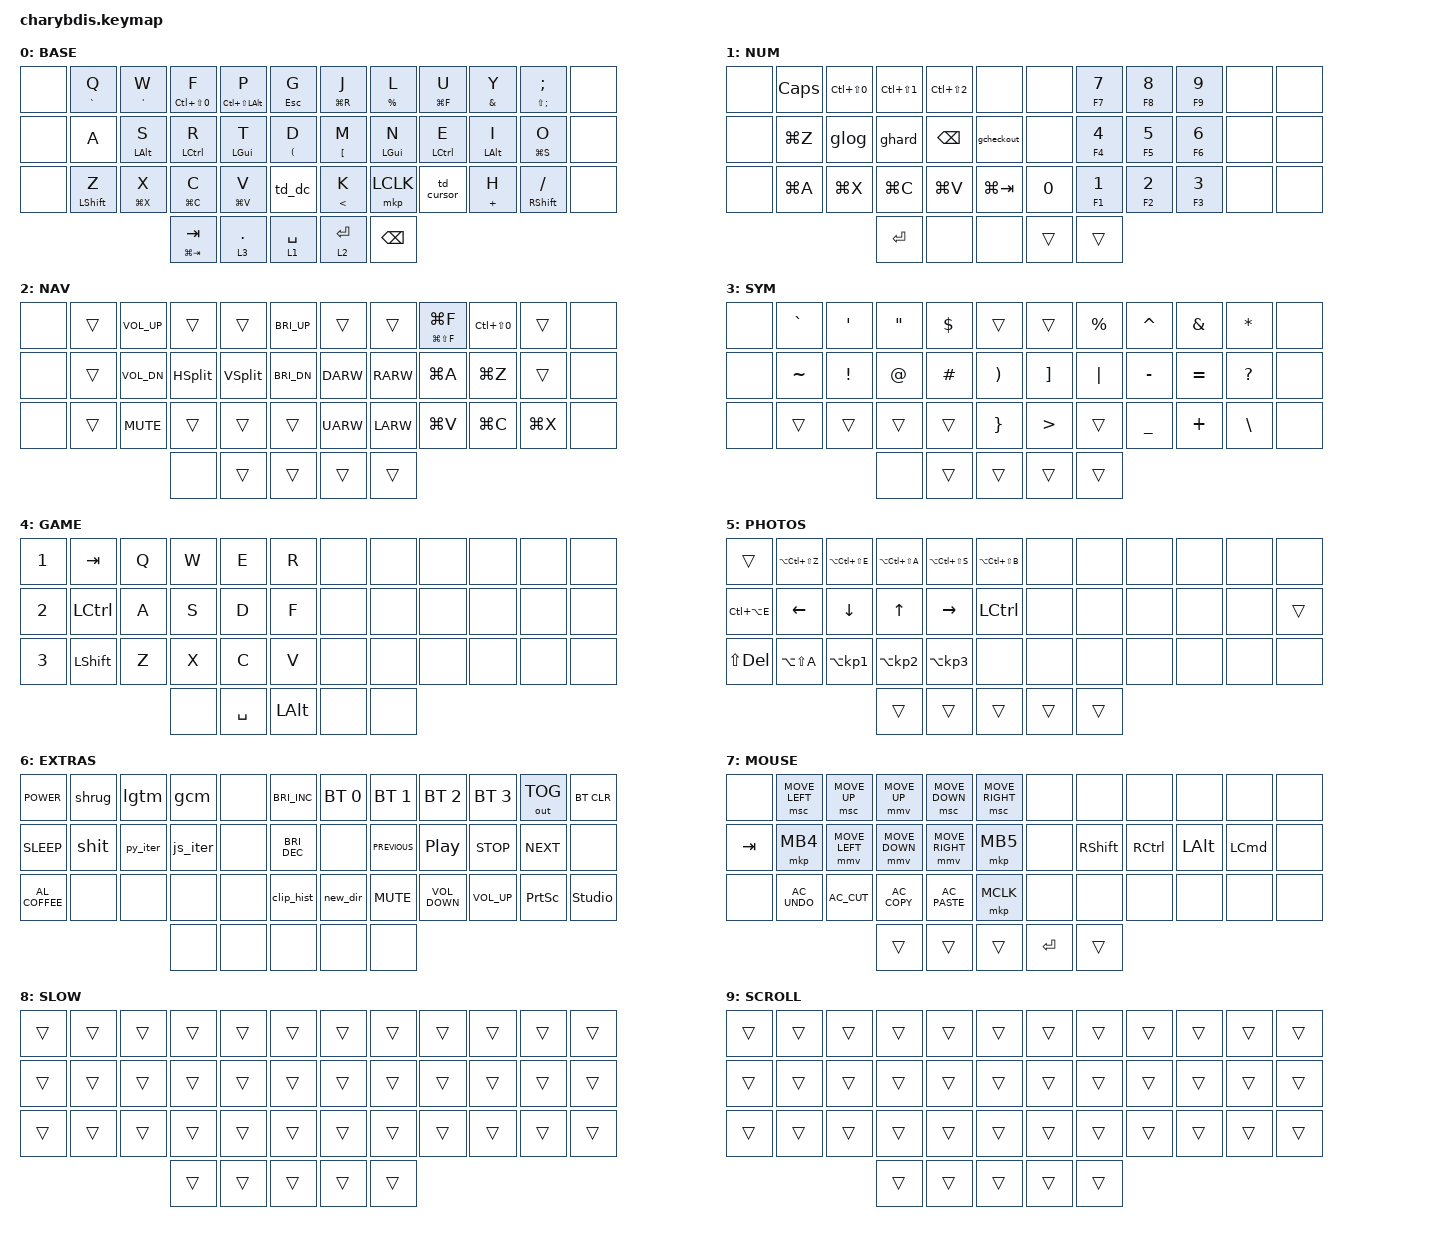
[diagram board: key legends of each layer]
#include <behaviors.dtsi>
#include <dt-bindings/zmk/bt.h>
#include <dt-bindings/zmk/keys.h>
#include <dt-bindings/zmk/mouse.h>
#include <dt-bindings/zmk/outputs.h>
#include <behaviors/mouse_keys.dtsi>
#include <dt-bindings/zmk/ext_power.h>
#include "macros.dtsi"

// / {
//     chosen { zmk,matrix_transform = &default_transform; };
// };

/ {
    /* input config for mouse move mode */
    trackball_listener {
        compatible = "zmk,input-behavior-listener";
        device = <&vtrackball>;
        layers = <0 2 7>;
        evt-type = <INPUT_EV_REL>;
        x-input-code = <INPUT_REL_X>;
        y-input-code = <INPUT_REL_Y>;
        scale-multiplier = <1>;
        scale-divisor = <2>;
        // bindings = <&ib_toggle_layer 7>;
    };

    /* input config for snipe mode */
    trackball_snipe_listener {
        compatible = "zmk,input-behavior-listener";   
        device = <&vtrackball>;
        layers = <8>;
        evt-type = <INPUT_EV_REL>;
        x-input-code = <INPUT_REL_X>;
        y-input-code = <INPUT_REL_Y>;
        scale-multiplier = <1>;
        scale-divisor = <4>;
    };

    /* input config for mouse scroll mode */
    trackball_scroll_listener {
        compatible = "zmk,input-behavior-listener";
        device = <&vtrackball>;
        layers = <9>;
        evt-type = <INPUT_EV_REL>;            
        x-input-code = <INPUT_REL_MISC>;
        y-input-code = <INPUT_REL_WHEEL>;
        y-invert;
        bindings = <&ib_wheel_scaler 1 14>;
    };

    /* define a resolution down scaler only for INPUT_REL_WHEEL */
    ib_wheel_scaler: ib_wheel_scaler {
        compatible = "zmk,input-behavior-scaler";
        #binding-cells = <2>;
        evt-type = <INPUT_EV_REL>;
        input-code = <INPUT_REL_WHEEL>;
    };

    /* adjust cooldown waiting period for mouse key layer after activated */
    ib_toggle_layer: ib_toggle_layer {
        compatible = "zmk,input-behavior-tog-layer";
        #binding-cells = <1>;
        time-to-live-ms = <750>;
    };

    behaviors {
        hm: homerow_mod {
            compatible = "zmk,behavior-hold-tap";
            #binding-cells = <2>;
            flavor = "tap-preferred";
            tapping-term-ms = <175>; // triggers the hold behavior when the tapping-term-ms has expired
            quick-tap-ms = <160>; // If you press a tapped hold-tap again within quick-tap-ms milliseconds of the first press, it will always trigger the tap behavior.
            require-prior-idle-ms = <185>; // like quick-tap-ms however it will apply for any non-modifier key pressed before it
            bindings = <&kp>, <&kp>;  // hold, tap
        };

        hmsh: homerow_mod_short {
            compatible = "zmk,behavior-hold-tap";
            #binding-cells = <2>;
            flavor = "tap-preferred";
            tapping-term-ms = <155>; // triggers the hold behavior when the tapping-term-ms has expired
            quick-tap-ms = <130>; // If you press a tapped hold-tap again within quick-tap-ms milliseconds of the first press, it will always trigger the tap behavior.
            require-prior-idle-ms = <145>; // like quick-tap-ms however it will apply for any non-modifier key pressed before it
            bindings = <&kp>, <&kp>;  // hold, tap
        };

        td_cursor: td_scroll_or_cursor {
            compatible = "zmk,behavior-tap-dance";
            #binding-cells = <0>;
            bindings = <&lt 9 ESC>, <&mkp RCLK>; // hold, tap, double_tap
        };
        
        hm_s: homerow_mod_special {
            compatible = "zmk,behavior-hold-tap";
            #binding-cells = <2>;
            flavor = "balanced";
            tapping-term-ms = <210>; // triggers the hold behavior when the tapping-term-ms has expired
            quick-tap-ms = <180>; // If you press a tapped hold-tap again within quick-tap-ms milliseconds of the first press, it will always trigger the tap behavior.
            require-prior-idle-ms = <220>; // like quick-tap-ms however it will apply for any non-modifier key pressed before it
            bindings = <&kp>, <&kp>;
            hold-trigger-key-positions = <0 1 2 3 4 5 6 7 8 9 11 12 13 14 15 16 17 18 19 20 21 22 23 24 25 26 27 28 29 30 31 32 33 34>;
        };

        hm_right: homerow_mod_right {
            compatible = "zmk,behavior-hold-tap";
            #binding-cells = <2>;
            flavor = "balanced";
            tapping-term-ms = <195>; // triggers the hold behavior when the tapping-term-ms has expired
            quick-tap-ms = <170>; // If you press a tapped hold-tap again within quick-tap-ms milliseconds of the first press, it will always trigger the tap behavior.
            require-prior-idle-ms = <200>; // like quick-tap-ms however it will apply for any non-modifier key pressed before it
            bindings = <&kp>, <&kp>;
            hold-trigger-key-positions = <0 1 2 3 4 10 11 12 13 14 20 21 22 23 24 30 31 32>;
        };

        td_layers: td_layer_swap {
            compatible = "zmk,behavior-tap-dance";
            #binding-cells = <0>;
            bindings = <&to 0>, <&to 5>, <&to 4>; // tap, double_tap, tripple_tap
        };
    
        td_clk_scrl: td_click_or_scroll {
            compatible = "zmk,behavior-tap-dance";
            #binding-cells = <0>;
            tapping-term-ms = <195>;
            bindings = <&mkp RCLK>, <&mo 9>;  // tap/hold, double_tap
        };

        td_rbck: td_right_bracket {
            compatible = "zmk,behavior-tap-dance";
            #binding-cells = <0>;
            tapping-term-ms = <195>;
            bindings = <&kp M>, <&kp RIGHT_BRACKET>;
        };
        
        td_rp: td_right_paren {
            compatible = "zmk,behavior-tap-dance";
            #binding-cells = <0>;
            tapping-term-ms = <195>;
            bindings = <&kp D>, <&kp RIGHT_PARENTHESIS>;
        };
      
        td_rbc: td_right_brace {
            compatible = "zmk,behavior-tap-dance";
            #binding-cells = <0>;
            tapping-term-ms = <195>;
            bindings = <&kp B>, <&kp RIGHT_BRACE>;
        };
              
        td_rgt: td_right_greater_than {
            compatible = "zmk,behavior-tap-dance";
            #binding-cells = <0>;
            tapping-term-ms = <195>;
            bindings = <&kp K>, <&kp GREATER_THAN>;
        };

        td_dc: td_v_cot_comma {
            compatible = "zmk,behavior-tap-dance";
            #binding-cells = <0>;
            tapping-term-ms = <175>;
            bindings = <&hm LBRC B>, <&kp COMMA>;
        };

        td_2c: td_2_coma {
            compatible = "zmk,behavior-tap-dance";
            #binding-cells = <0>;
            tapping-term-ms = <195>;
            bindings = <&hm F2 N2>, <&kp COMMA>;
        };
        
        td_3d: td_3_dot {
            compatible = "zmk,behavior-tap-dance";
            #binding-cells = <0>;
            tapping-term-ms = <195>;
            bindings = <&hm F3 N3>, <&kp DOT>;
        };

        td_bore: BASE_or_EXTRA {
            compatible = "zmk,behavior-tap-dance";
            #binding-cells = <0>;
            bindings = <&mo 6>, <&to 0>;
        };

    };

    combos {
        compatible = "zmk,combos";


        BASE_or_EXTRAS {
            bindings = <&td_bore>;
            key-positions = <4 5>;
        };
    };

// ╭──────┬──────┬──────┬──────┬──────┬──────╮  ╭──────┬──────┬──────┬──────┬──────┬──────╮
//    00     01     02     03    04      05        06     07     08     09     10     11
// ├──────┼──────┼──────┼──────┼──────┼──────┤  ├──────┼──────┼──────┼──────┼──────┼──────┤
//    12     13     14     15    16      17        18     19     20     21     22     23
// ├──────┼──────┼──────┼──────┼──────┼──────┤  ├──────┼──────┼──────┼──────┼──────┼──────┤
//    24     25     26     27    28      29        30     31     32     33     34     35
// ╰──────┴──────┴──────┼──────┼──────┼──────┤  ├──────┼──────┼──────┴──────┴──────┴──────╯
//                         36     37     38        39     40
//                      ╰──────┴──────┴──────╯  ╰──────┴──────╯
// ╭──────┬──────┬──────┬──────┬──────╮  ╭──────┬──────┬──────┬──────┬──────╮
//    00     01     02     03     04        05     06     07     08     09   
// ├──────┼──────┼──────┼──────┼──────┤  ├──────┼──────┼──────┼──────┼──────┤
//    10     11     12     13     14        15     16     17     18     19   
// ├──────┼──────┼──────┼──────┼──────┤  ├──────┼──────┼──────┼──────┼──────┤
//    20     21     22     23     24        25     26     27     28     29    
// ╰──────┴──────┼──────┼──────┼──────┤  ├──────┼──────┼──────┴──────┴──────╯
//                  30     31     32        33     34
//               ╰──────┴──────┴──────╯  ╰──────┴──────╯
// #define BASE    0
// #define NUM     1
// #define NAV     2
// #define SYM     3
// #define GAME    4
// #define PHOTOS  5
// #define EXTRAS  6
// #define MOUSE   7
// #define SLOW    8
// #define SCROLL  9


    keymap {
        compatible = "zmk,keymap";
        BASE {
            bindings = <
// ╭────────────────┬──────────────────┬─────────────────────────┬─────────────────────────────┬──────────────────┬──────────────────╮  ╭────────────────┬─────────────────┬──────────────────────────────────┬──────────────────────────────┬────────────────────────┬──────────────╮
      &none          &hm GRAVE Q            &hm APOS W                &hm LC(LS(N0)) F          &hm LC(LS(LALT)) P    &hm ESC G          &hm LG(R) J      &hm PRCNT L          &hm LG(F) U                     &hm AMPS Y                     &hm LS(SEMI)  SEMI              &none
// ├────────────────┼──────────────────┼─────────────────────────┼─────────────────────────────┼──────────────────┼──────────────────┤  ├────────────────┼─────────────────┼──────────────────────────────────┼──────────────────────────────┼────────────────────────┼──────────────┤
      &none            &kp A                  &hm LALT S                &hm LCTRL R                 &hm_s LGUI T        &hm LPAR D         &hm LBKT M       &hm_right LGUI N     &hm_right LCTRL E               &hm_right LALT I               &hm LG(S) O            &none
// ├────────────────┼──────────────────┼─────────────────────────┼─────────────────────────────┼──────────────────┼──────────────────┤  ├────────────────┼─────────────────┼──────────────────────────────────┼──────────────────────────────┼────────────────────────┼──────────────┤
      &none            &hmsh LSHFT Z          &hm LG(X) X               &hm  LG(C) C                &hm LG(V) V         &td_dc            &hm LT K         &mkp LCLK            &td_cursor                     &hm_right PLUS H               &hmsh RSHFT FSLH         &none
// ╰────────────────┴──────────────────┴─────────────────────────┼─────────────────────────────┼──────────────────┼──────────────────┤  ├────────────────┼─────────────────┼──────────────────────────────────┴──────────────────────────────┴────────────────────────┴──────────────╯
                                                                                 &mt LG(TAB) TAB      &lt 3 DOT        &lt 1 SPACE          &lt 2 RETURN     &kp BACKSPACE
                                                                              //  ╰─────────────┴──────────────────┴─────────────────╯  ╰────────────────┴─────────────────╯  
            >;
        };
        
        

        NUM {
            bindings = <
&none    &kp CAPS      &kp LC(LS(N0)) &kp LC(LS(N1)) &kp LC(LS(N2))  &none             &none      &hm F7 N7  &hm F8 N8  &hm F9 N9     &none  &none
&none    &kp LG(Z)     &glog          &ghard         &kp BACKSPACE   &gcheckout        &none      &hm F4 N4  &hm F5 N5  &hm F6 N6     &none   &none
&none    &kp LG(A)     &kp LG(X)      &kp LG(C)      &kp LG(V)       &kp LG(TAB)       &kp N0     &hm F1 N1  &hm F2 N2  &hm F3 N3     &none   &none
                                      &kp RETURN     &none           &none             &trans     &trans
          //                      ╰────────────────┴────────────────┴───────x─────╯   ╰─────────┴──────────╯
            >;
        };


        NAV {
            bindings = <
        //╭──────────┬──────────┬──────────┬──────────┬──────────╮   ╭──────────┬──────────┬───────────────────┬────────────────┬──────────╮
 &none       &trans  &kp C_VOL_UP   &trans    &trans   &kp C_BRI_UP    &trans     &trans   &hm LG(LS(F)) LG(F)   &kp LC(LS(N0))   &trans      &none 
        //├──────────┼──────────┼──────────┼──────────┼──────────┤   ├──────────┼──────────┼───────────────────┼────────────────┼──────────┤
 &none       &trans  &kp C_VOL_DN   &HSplit   &VSplit  &kp C_BRI_DN    &kp DARW   &kp RARW   &kp LG(A)           &kp LG(Z)        &trans      &none 
        //├──────────┼──────────┼──────────┼──────────┼──────────┤   ├──────────┼──────────┼───────────────────┼────────────────┼──────────┤
 &none       &trans  &kp C_MUTE    &trans     &trans    &trans         &kp UARW   &kp LARW   &kp LG(V)           &kp LG(C)        &kp LG(X)   &none 
        //╰──────────┴──────────┴──────────┼──────────┼──────────┤   ├──────────┼──────────┼───────────────────┴────────────────┴──────────╯
                                   &none     &trans     &trans         &trans     &trans
        //                      ╰──────────┴──────────┴──────────╯   ╰────x─────┴──────────╯
            >;
        };

        

        SYM {
            bindings = <
        //╭──────────┬──────────┬──────────┬──────────┬──────────────────╮   ╭──────────────────┬──────────┬──────────┬──────────┬──────────╮
        //│  `       │    '     │    "     │    $     │                  │   │                  │    %     │    ^     │    &     │    *     │
 &none     &kp GRAVE   &kp APOS  &kp DQT     &kp DLLR    &trans                     &trans       &kp PRCNT  &kp CARET   &kp AMPS  &kp ASTRK   &none 
        //├──────────┼──────────┼──────────┼──────────┼──────────────────┤   ├──────────────────┼──────────┼──────────┼──────────┼──────────┤
        //│   ~      │   !      │  @       │    #     │    (             │   │    [             │     │    │    -     │    =     │     ?    │
 &none     &kp TILDE   &kp EXCL   &kp AT     &kp HASH   &kp RPAR                &kp RBKT         &kp PIPE   &kp MINUS &kp EQUAL  &kp QMARK   &none 
        //├──────────┼──────────┼──────────┼──────────┼──────────────────┤   ├──────────────────┼──────────┼──────────┼──────────┼──────────┤
        //│          │          │          │          │   {              │   │    <             │          │    _     │    +     │    \     │
 &none      &trans     &trans     &trans     &trans     &kp RBRC                &kp GT            &trans  &kp UNDER   &kp PLUS  &kp BSLH     &none 
        //╰──────────┴──────────┴──────────┼──────────┼──────────────────┤   ├──────────────────┼──────────┼──────────┴──────────┴──────────╯
                                   &none     &trans     &trans                  &trans            &trans
        //                      ╰──────────┴──────────┴──────────────────╯   ╰──────────────────┴────x─────╯
            >;
        }; 


        GAME {
            bindings = <
&kp N1  &kp TAB    &kp Q  &kp W   &kp E      &kp R           &none  &none  &none  &none  &none  &none
&kp N2  &kp LCTRL  &kp A  &kp S   &kp D      &kp F           &none  &none  &none  &none  &none  &none
&kp N3  &kp LSHFT  &kp Z  &kp X   &kp C      &kp V           &none  &none  &none  &none  &none  &none
                          &none   &kp SPACE  &kp LEFT_ALT    &none  &none
            >;
        };

        PHOTOS {
            bindings = <
&trans          &kp LA(LC(LS(Z)))  &kp LA(LC(LS(E)))  &kp LA(LC(LS(A)))  &kp LA(LC(LS(S)))  &kp LA(LC(LS(B)))    &none   &none   &none  &none  &none  &none
&kp LC(LA(E))   &kp LEFT           &kp DOWN           &kp UP             &kp RIGHT          &kp LCTRL            &none   &none   &none  &none  &none  &trans
&kp LS(DELETE)  &kp LA(LS(A))      &kp LA(KP_N1)      &kp LA(KP_N2)      &kp LA(KP_N3)      &none                &none   &none   &none  &none  &none  &none
                                                      &trans             &trans             &trans               &trans  &trans
            >;
        };

        EXTRAS {
            bindings = <
&kp C_POWER       &shrug  &lgtm     &gcm      &none  &kp C_BRIGHTNESS_INC    &bt BT_SEL 0  &bt BT_SEL 1    &bt BT_SEL 2       &bt BT_SEL 3  &out OUT_TOG     &bt BT_CLR
&kp C_SLEEP       &shit   &py_iter  &js_iter  &none  &kp C_BRIGHTNESS_DEC    &none         &kp C_PREVIOUS  &kp C_PLAY_PAUSE   &kp C_STOP    &kp C_NEXT       &none
&kp C_AL_COFFEE   &none   &none     &none     &none  &clip_hist              &new_dir      &kp K_MUTE      &kp C_VOLUME_DOWN  &kp C_VOLUME_UP   &kp PRINTSCREEN  &studio_unlock
                                    &none     &none  &none                   &none         &none
            >;
        };

        MOUSE {
            bindings = <
&none    &msc MOVE_LEFT  &msc MOVE_UP    &mmv MOVE_UP    &msc MOVE_DOWN   &msc MOVE_RIGHT    &none  &none            &none      &none         &none          &none
&kp TAB  &mkp MB4        &mmv MOVE_LEFT  &mmv MOVE_DOWN  &mmv MOVE_RIGHT  &mkp MB5           &none  &kp RIGHT_SHIFT  &kp RCTRL  &kp LEFT_ALT  &kp LCMD  &none
&none    &kp C_AC_UNDO   &kp C_AC_CUT    &kp C_AC_COPY   &kp C_AC_PASTE   &mkp MCLK          &none  &none            &none      &none         &none          &none
                                         &trans          &trans           &trans             &kp RETURN              &trans
            >;
        };

        SLOW {
            bindings = <
&trans    &trans    &trans    &trans    &trans    &trans    &trans    &trans    &trans    &trans    &trans    &trans
&trans    &trans    &trans    &trans    &trans    &trans    &trans    &trans    &trans    &trans    &trans    &trans
&trans    &trans    &trans    &trans    &trans    &trans    &trans    &trans    &trans    &trans    &trans    &trans
                              &trans    &trans    &trans    &trans    &trans
            >;
        };

        SCROLL {
            bindings = <
&trans    &trans    &trans    &trans    &trans    &trans    &trans    &trans    &trans    &trans    &trans    &trans
&trans    &trans    &trans    &trans    &trans    &trans    &trans    &trans    &trans    &trans    &trans    &trans
&trans    &trans    &trans    &trans    &trans    &trans    &trans    &trans    &trans    &trans    &trans    &trans
                              &trans    &trans    &trans    &trans    &trans
            >;
        };
    };
};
